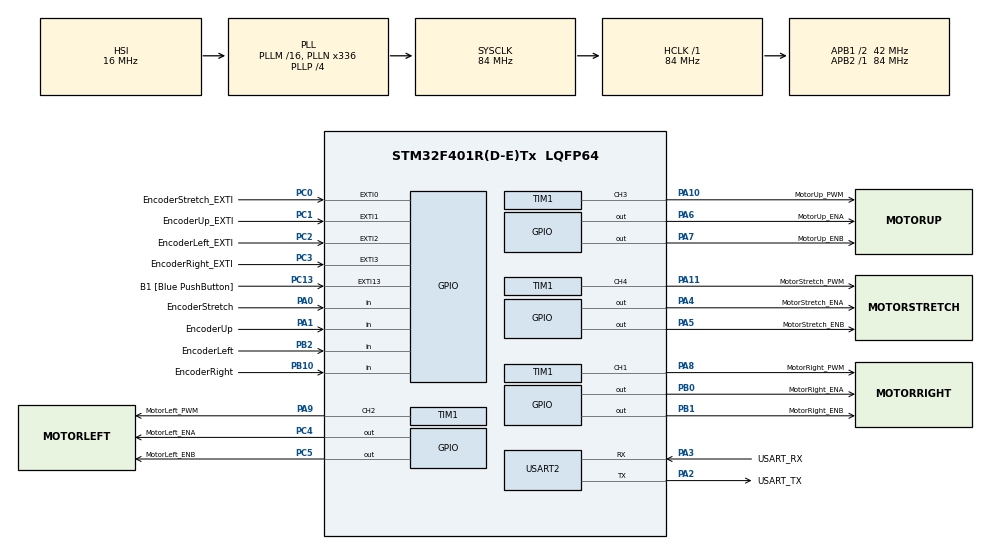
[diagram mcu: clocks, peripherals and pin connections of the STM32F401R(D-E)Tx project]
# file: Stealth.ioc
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FREERTOS.Tasks01=dataSender,-1,128,Task_dataSender,Default,NULL,Dynamic,NULL,NULL;sMotorCtrl,0,128,Task_SMotor,Default,NULL,Dynamic,NULL,NULL;tMotorCtrl,2,128,Task_TMotors,Default,NULL,Dynamic,NULL,NULL;dataReceiver,1,128,Task_dataReceiver,Default,NULL,Dynamic,NULL,NULL
FREERTOS.configUSE_NEWLIB_REENTRANT=1
Mcu.Family=STM32F4
Mcu.Name=STM32F401R(D-E)Tx
Mcu.Package=LQFP64
NVIC.EXTI0_IRQn=true\:5\:0\:false\:false\:true\:true\:true\:true\:true
NVIC.EXTI15_10_IRQn=true\:5\:0\:false\:false\:true\:true\:true\:true\:true
NVIC.EXTI1_IRQn=true\:5\:0\:false\:false\:true\:true\:true\:true\:true
NVIC.EXTI2_IRQn=true\:5\:0\:false\:false\:true\:true\:true\:true\:true
NVIC.EXTI3_IRQn=true\:5\:0\:false\:false\:true\:true\:true\:true\:true
NVIC.PriorityGroup=NVIC_PRIORITYGROUP_4
NVIC.TIM5_IRQn=true\:15\:0\:false\:false\:true\:false\:false\:true\:true
NVIC.TimeBase=TIM5_IRQn
NVIC.TimeBaseIP=TIM5
PA0-WKUP.GPIO_Label=EncoderStretch
PA0-WKUP.Signal=GPIO_Input
PA1.GPIO_Label=EncoderUp
PA1.Signal=GPIO_Input
PA10.GPIO_Label=MotorUp_PWM
PA10.Signal=S_TIM1_CH3
PA11.GPIO_Label=MotorStretch_PWM
PA11.Signal=S_TIM1_CH4
PA13.GPIO_Label=TMS
PA13.Mode=Serial_Wire
PA13.Signal=SYS_JTMS-SWDIO
PA14.GPIO_Label=TCK
PA14.Mode=Serial_Wire
PA14.Signal=SYS_JTCK-SWCLK
PA2.GPIO_Label=USART_TX
PA2.GPIO_Mode=GPIO_MODE_AF_PP
PA2.GPIO_PuPd=GPIO_NOPULL
PA2.GPIO_Speed=GPIO_SPEED_FREQ_LOW
PA2.Mode=Asynchronous
PA2.Signal=USART2_TX
PA3.GPIO_Label=USART_RX
PA3.GPIO_Mode=GPIO_MODE_AF_PP
PA3.GPIO_PuPd=GPIO_NOPULL
PA3.GPIO_Speed=GPIO_SPEED_FREQ_LOW
PA3.Mode=Asynchronous
PA3.Signal=USART2_RX
PA4.GPIO_Label=MotorStretch_ENA
PA4.Signal=GPIO_Output
PA5.GPIO_Label=MotorStretch_ENB
PA5.Signal=GPIO_Output
PA6.GPIO_Label=MotorUp_ENA
PA6.Signal=GPIO_Output
PA7.GPIO_Label=MotorUp_ENB
PA7.Signal=GPIO_Output
PA8.GPIO_Label=MotorRight_PWM
PA8.Signal=S_TIM1_CH1
PA9.GPIO_Label=MotorLeft_PWM
PA9.Signal=S_TIM1_CH2
PB0.GPIO_Label=MotorRight_ENA
PB0.Signal=GPIO_Output
PB1.GPIO_Label=MotorRight_ENB
PB1.Signal=GPIO_Output
PB10.GPIO_Label=EncoderRight
PB10.Signal=GPIO_Input
PB2.GPIO_Label=EncoderLeft
PB2.Signal=GPIO_Input
PB3.GPIO_Label=SWO
PB3.Signal=SYS_JTDO-SWO
PC0.GPIO_Label=EncoderStretch_EXTI
PC0.GPIO_ModeDefaultEXTI=GPIO_MODE_IT_RISING
PC0.Signal=GPXTI0
PC1.GPIO_Label=EncoderUp_EXTI
PC1.Signal=GPXTI1
PC13-ANTI_TAMP.GPIO_Label=B1 [Blue PushButton]
PC13-ANTI_TAMP.GPIO_ModeDefaultEXTI=GPIO_MODE_IT_FALLING
PC13-ANTI_TAMP.GPIO_PuPd=GPIO_NOPULL
PC13-ANTI_TAMP.Signal=GPXTI13
PC14-OSC32_IN.Mode=LSE-External-Oscillator
PC14-OSC32_IN.Signal=RCC_OSC32_IN
PC15-OSC32_OUT.Mode=LSE-External-Oscillator
PC15-OSC32_OUT.Signal=RCC_OSC32_OUT
PC2.GPIO_Label=EncoderLeft_EXTI
PC2.Signal=GPXTI2
PC3.GPIO_Label=EncoderRight_EXTI
PC3.Signal=GPXTI3
PC4.GPIO_Label=MotorLeft_ENA
PC4.Signal=GPIO_Output
PC5.GPIO_Label=MotorLeft_ENB
PC5.Signal=GPIO_Output
PH0\ -\ OSC_IN.Mode=HSE-External-Oscillator
PH0\ -\ OSC_IN.Signal=RCC_OSC_IN
PH1\ -\ OSC_OUT.Mode=HSE-External-Oscillator
PH1\ -\ OSC_OUT.Signal=RCC_OSC_OUT
ProjectManager.HeapSize=0x200
ProjectManager.StackSize=0x400
ProjectManager.TargetToolchain=STM32CubeIDE
RCC.48MHZClocksFreq_Value=48000000
RCC.AHBFreq_Value=84000000
RCC.APB1CLKDivider=RCC_HCLK_DIV2
RCC.APB1Freq_Value=42000000
RCC.APB1TimFreq_Value=84000000
RCC.APB2Freq_Value=84000000
RCC.APB2TimFreq_Value=84000000
RCC.CortexFreq_Value=84000000
RCC.HCLKFreq_Value=84000000
RCC.HSE_VALUE=8000000
RCC.HSI_VALUE=16000000
RCC.PLLN=336
RCC.PLLP=RCC_PLLP_DIV4
RCC.PLLQ=7
RCC.SYSCLKFreq_VALUE=84000000
RCC.SYSCLKSource=RCC_SYSCLKSOURCE_PLLCLK
RCC.VCOOutputFreq_Value=336000000
SH.S_TIM1_CH1.0=TIM1_CH1,PWM Generation1 CH1
SH.S_TIM1_CH2.0=TIM1_CH2,PWM Generation2 CH2
SH.S_TIM1_CH3.0=TIM1_CH3,PWM Generation3 CH3
SH.S_TIM1_CH4.0=TIM1_CH4,PWM Generation4 CH4
TIM1.Channel-PWM\ Generation1\ CH1=TIM_CHANNEL_1
TIM1.Channel-PWM\ Generation2\ CH2=TIM_CHANNEL_2
TIM1.Channel-PWM\ Generation3\ CH3=TIM_CHANNEL_3
TIM1.Channel-PWM\ Generation4\ CH4=TIM_CHANNEL_4
TIM1.Period=8399
USART2.VirtualMode=VM_ASYNC
VP_FREERTOS_VS_CMSIS_V1.Mode=CMSIS_V1
VP_SYS_VS_tim5.Mode=TIM5
board=NUCLEO-F401RE

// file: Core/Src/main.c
/* USER CODE BEGIN Header */
/**
  ******************************************************************************
  * @file           : main.c
  * @brief          : Main program body
  ******************************************************************************
  * @attention
  *
  * Copyright (c) 2023 STMicroelectronics.
  * All rights reserved.
  *
  * This software is licensed under terms that can be found in the LICENSE file
  * in the root directory of this software component.
  * If no LICENSE file comes with this software, it is provided AS-IS.
  *
  ******************************************************************************
  */
/* USER CODE END Header */
#include "main.h"
#include "cmsis_os.h"

/* USER CODE BEGIN Includes */
#include <stdio.h>
/* USER CODE END Includes */

TIM_HandleTypeDef htim1;

UART_HandleTypeDef huart2;

osThreadId dataSenderHandle;
osThreadId sMotorCtrlHandle;
osThreadId tMotorCtrlHandle;
osThreadId dataReceiverHandle;
/* USER CODE BEGIN PV */
// Private variables

// Encoder tick variables
long long int tickUp = 0;

// UART receiving

/* USER CODE END PV */

void SystemClock_Config(void);
static void MX_GPIO_Init(void);
static void MX_USART2_UART_Init(void);
static void MX_TIM1_Init(void);
void Task_dataSender(void const * argument);
void Task_SMotor(void const * argument);
void Task_TMotors(void const * argument);
void Task_dataReceiver(void const * argument);

/* USER CODE BEGIN PFP */
// Write your user-defined function declaration here

/* USER CODE END PFP */

/* USER CODE BEGIN 0 */
// Write your user-defined function here

/* USER CODE END 0 */

int main(void)
{

  /* MCU Configuration--------------------------------------------------------*/

  /* Reset of all peripherals, Initializes the Flash interface and the Systick. */
  HAL_Init();

  /* Configure the system clock */
  SystemClock_Config();

  /* Initialize all configured peripherals */
  MX_GPIO_Init();
  MX_USART2_UART_Init();
  MX_TIM1_Init();

  /* Create the thread(s) */
  /* definition and creation of dataSender */
  osThreadDef(dataSender, Task_dataSender, osPriorityBelowNormal, 0, 128);
  dataSenderHandle = osThreadCreate(osThread(dataSender), NULL);

  /* definition and creation of sMotorCtrl */
  osThreadDef(sMotorCtrl, Task_SMotor, osPriorityNormal, 0, 128);
  sMotorCtrlHandle = osThreadCreate(osThread(sMotorCtrl), NULL);

  /* definition and creation of tMotorCtrl */
  osThreadDef(tMotorCtrl, Task_TMotors, osPriorityHigh, 0, 128);
  tMotorCtrlHandle = osThreadCreate(osThread(tMotorCtrl), NULL);

  /* definition and creation of dataReceiver */
  osThreadDef(dataReceiver, Task_dataReceiver, osPriorityAboveNormal, 0, 128);
  dataReceiverHandle = osThreadCreate(osThread(dataReceiver), NULL);

  /* Start scheduler */
  osKernelStart();

  /* We should never get here as control is now taken by the scheduler */
  /* Infinite loop */
  while (1)
  {

  }
}

void SystemClock_Config(void)
{
  RCC_OscInitTypeDef RCC_OscInitStruct = {0};
  RCC_ClkInitTypeDef RCC_ClkInitStruct = {0};

  /** Configure the main internal regulator output voltage
  */
  __HAL_RCC_PWR_CLK_ENABLE();
  __HAL_PWR_VOLTAGESCALING_CONFIG(PWR_REGULATOR_VOLTAGE_SCALE2);

  /** Initializes the RCC Oscillators according to the specified parameters
  * in the RCC_OscInitTypeDef structure.
  */
  RCC_OscInitStruct.OscillatorType = RCC_OSCILLATORTYPE_HSI;
  RCC_OscInitStruct.HSIState = RCC_HSI_ON;
  RCC_OscInitStruct.HSICalibrationValue = RCC_HSICALIBRATION_DEFAULT;
  RCC_OscInitStruct.PLL.PLLState = RCC_PLL_ON;
  RCC_OscInitStruct.PLL.PLLSource = RCC_PLLSOURCE_HSI;
  RCC_OscInitStruct.PLL.PLLM = 16;
  RCC_OscInitStruct.PLL.PLLN = 336;
  RCC_OscInitStruct.PLL.PLLP = RCC_PLLP_DIV4;
  RCC_OscInitStruct.PLL.PLLQ = 7;
  if (HAL_RCC_OscConfig(&RCC_OscInitStruct) != HAL_OK)
  {
    Error_Handler();
  }

  /** Initializes the CPU, AHB and APB buses clocks
  */
  RCC_ClkInitStruct.ClockType = RCC_CLOCKTYPE_HCLK|RCC_CLOCKTYPE_SYSCLK
                              |RCC_CLOCKTYPE_PCLK1|RCC_CLOCKTYPE_PCLK2;
  RCC_ClkInitStruct.SYSCLKSource = RCC_SYSCLKSOURCE_PLLCLK;
  RCC_ClkInitStruct.AHBCLKDivider = RCC_SYSCLK_DIV1;
  RCC_ClkInitStruct.APB1CLKDivider = RCC_HCLK_DIV2;
  RCC_ClkInitStruct.APB2CLKDivider = RCC_HCLK_DIV1;

  if (HAL_RCC_ClockConfig(&RCC_ClkInitStruct, FLASH_LATENCY_2) != HAL_OK)
  {
    Error_Handler();
  }
}

static void MX_TIM1_Init(void)
{

  /* USER CODE BEGIN TIM1_Init 0 */
	HAL_TIM_Base_Start(&htim1);
	HAL_TIM_PWM_Start(&htim1, TIM_CHANNEL_3); // upper Motor
  /* USER CODE END TIM1_Init 0 */

  TIM_MasterConfigTypeDef sMasterConfig = {0};
  TIM_OC_InitTypeDef sConfigOC = {0};
  TIM_BreakDeadTimeConfigTypeDef sBreakDeadTimeConfig = {0};

  htim1.Instance = TIM1;
  htim1.Init.Prescaler = 0;
  htim1.Init.CounterMode = TIM_COUNTERMODE_UP;
  htim1.Init.Period = 8399;
  htim1.Init.ClockDivision = TIM_CLOCKDIVISION_DIV1;
  htim1.Init.RepetitionCounter = 0;
  htim1.Init.AutoReloadPreload = TIM_AUTORELOAD_PRELOAD_DISABLE;
  if (HAL_TIM_PWM_Init(&htim1) != HAL_OK)
  {
    Error_Handler();
  }
  sMasterConfig.MasterOutputTrigger = TIM_TRGO_RESET;
  sMasterConfig.MasterSlaveMode = TIM_MASTERSLAVEMODE_DISABLE;
  if (HAL_TIMEx_MasterConfigSynchronization(&htim1, &sMasterConfig) != HAL_OK)
  {
    Error_Handler();
  }
  sConfigOC.OCMode = TIM_OCMODE_PWM1;
  sConfigOC.Pulse = 0;
  sConfigOC.OCPolarity = TIM_OCPOLARITY_HIGH;
  sConfigOC.OCNPolarity = TIM_OCNPOLARITY_HIGH;
  sConfigOC.OCFastMode = TIM_OCFAST_DISABLE;
  sConfigOC.OCIdleState = TIM_OCIDLESTATE_RESET;
  sConfigOC.OCNIdleState = TIM_OCNIDLESTATE_RESET;
  if (HAL_TIM_PWM_ConfigChannel(&htim1, &sConfigOC, TIM_CHANNEL_1) != HAL_OK)
  {
    Error_Handler();
  }
  if (HAL_TIM_PWM_ConfigChannel(&htim1, &sConfigOC, TIM_CHANNEL_2) != HAL_OK)
  {
    Error_Handler();
  }
  if (HAL_TIM_PWM_ConfigChannel(&htim1, &sConfigOC, TIM_CHANNEL_3) != HAL_OK)
  {
    Error_Handler();
  }
  if (HAL_TIM_PWM_ConfigChannel(&htim1, &sConfigOC, TIM_CHANNEL_4) != HAL_OK)
  {
    Error_Handler();
  }
  sBreakDeadTimeConfig.OffStateRunMode = TIM_OSSR_DISABLE;
  sBreakDeadTimeConfig.OffStateIDLEMode = TIM_OSSI_DISABLE;
  sBreakDeadTimeConfig.LockLevel = TIM_LOCKLEVEL_OFF;
  sBreakDeadTimeConfig.DeadTime = 0;
  sBreakDeadTimeConfig.BreakState = TIM_BREAK_DISABLE;
  sBreakDeadTimeConfig.BreakPolarity = TIM_BREAKPOLARITY_HIGH;
  sBreakDeadTimeConfig.AutomaticOutput = TIM_AUTOMATICOUTPUT_DISABLE;
  if (HAL_TIMEx_ConfigBreakDeadTime(&htim1, &sBreakDeadTimeConfig) != HAL_OK)
  {
    Error_Handler();
  }
  HAL_TIM_MspPostInit(&htim1);

}

static void MX_USART2_UART_Init(void)
{

  huart2.Instance = USART2;
  huart2.Init.BaudRate = 115200;
  huart2.Init.WordLength = UART_WORDLENGTH_8B;
  huart2.Init.StopBits = UART_STOPBITS_1;
  huart2.Init.Parity = UART_PARITY_NONE;
  huart2.Init.Mode = UART_MODE_TX_RX;
  huart2.Init.HwFlowCtl = UART_HWCONTROL_NONE;
  huart2.Init.OverSampling = UART_OVERSAMPLING_16;
  if (HAL_UART_Init(&huart2) != HAL_OK)
  {
    Error_Handler();
  }

}

static void MX_GPIO_Init(void)
{
  GPIO_InitTypeDef GPIO_InitStruct = {0};

  /* GPIO Ports Clock Enable */
  __HAL_RCC_GPIOC_CLK_ENABLE();
  __HAL_RCC_GPIOH_CLK_ENABLE();
  __HAL_RCC_GPIOA_CLK_ENABLE();
  __HAL_RCC_GPIOB_CLK_ENABLE();

  /*Configure GPIO pin Output Level */
  HAL_GPIO_WritePin(GPIOA, MotorStretch_ENA_Pin|MotorStretch_ENB_Pin|MotorUp_ENA_Pin|MotorUp_ENB_Pin, GPIO_PIN_RESET);

  /*Configure GPIO pin Output Level */
  HAL_GPIO_WritePin(GPIOC, MotorLeft_ENA_Pin|MotorLeft_ENB_Pin, GPIO_PIN_RESET);

  /*Configure GPIO pin Output Level */
  HAL_GPIO_WritePin(GPIOB, MotorRight_ENA_Pin|MotorRight_ENB_Pin, GPIO_PIN_RESET);

  /*Configure GPIO pin : B1_Pin */
  GPIO_InitStruct.Pin = B1_Pin;
  GPIO_InitStruct.Mode = GPIO_MODE_IT_FALLING;
  GPIO_InitStruct.Pull = GPIO_NOPULL;
  HAL_GPIO_Init(B1_GPIO_Port, &GPIO_InitStruct);

  /*Configure GPIO pins : EncoderStretch_EXTI_Pin EncoderUp_EXTI_Pin EncoderLeft_EXTI_Pin EncoderRight_EXTI_Pin */
  GPIO_InitStruct.Pin = EncoderStretch_EXTI_Pin|EncoderUp_EXTI_Pin|EncoderLeft_EXTI_Pin|EncoderRight_EXTI_Pin;
  GPIO_InitStruct.Mode = GPIO_MODE_IT_RISING;
  GPIO_InitStruct.Pull = GPIO_NOPULL;
  HAL_GPIO_Init(GPIOC, &GPIO_InitStruct);

  /*Configure GPIO pins : EncoderStretch_Pin EncoderUp_Pin */
  GPIO_InitStruct.Pin = EncoderStretch_Pin|EncoderUp_Pin;
  GPIO_InitStruct.Mode = GPIO_MODE_INPUT;
  GPIO_InitStruct.Pull = GPIO_NOPULL;
  HAL_GPIO_Init(GPIOA, &GPIO_InitStruct);

  /*Configure GPIO pins : MotorStretch_ENA_Pin MotorStretch_ENB_Pin MotorUp_ENA_Pin MotorUp_ENB_Pin */
  GPIO_InitStruct.Pin = MotorStretch_ENA_Pin|MotorStretch_ENB_Pin|MotorUp_ENA_Pin|MotorUp_ENB_Pin;
  GPIO_InitStruct.Mode = GPIO_MODE_OUTPUT_PP;
  GPIO_InitStruct.Pull = GPIO_NOPULL;
  GPIO_InitStruct.Speed = GPIO_SPEED_FREQ_LOW;
  HAL_GPIO_Init(GPIOA, &GPIO_InitStruct);

  /*Configure GPIO pins : MotorLeft_ENA_Pin MotorLeft_ENB_Pin */
  GPIO_InitStruct.Pin = MotorLeft_ENA_Pin|MotorLeft_ENB_Pin;
  GPIO_InitStruct.Mode = GPIO_MODE_OUTPUT_PP;
  GPIO_InitStruct.Pull = GPIO_NOPULL;
  GPIO_InitStruct.Speed = GPIO_SPEED_FREQ_LOW;
  HAL_GPIO_Init(GPIOC, &GPIO_InitStruct);

  /*Configure GPIO pins : MotorRight_ENA_Pin MotorRight_ENB_Pin */
  GPIO_InitStruct.Pin = MotorRight_ENA_Pin|MotorRight_ENB_Pin;
  GPIO_InitStruct.Mode = GPIO_MODE_OUTPUT_PP;
  GPIO_InitStruct.Pull = GPIO_NOPULL;
  GPIO_InitStruct.Speed = GPIO_SPEED_FREQ_LOW;
  HAL_GPIO_Init(GPIOB, &GPIO_InitStruct);

  /*Configure GPIO pins : EncoderLeft_Pin EncoderRight_Pin */
  GPIO_InitStruct.Pin = EncoderLeft_Pin|EncoderRight_Pin;
  GPIO_InitStruct.Mode = GPIO_MODE_INPUT;
  GPIO_InitStruct.Pull = GPIO_NOPULL;
  HAL_GPIO_Init(GPIOB, &GPIO_InitStruct);

  /* EXTI interrupt init*/
  HAL_NVIC_SetPriority(EXTI0_IRQn, 5, 0);
  HAL_NVIC_EnableIRQ(EXTI0_IRQn);

  HAL_NVIC_SetPriority(EXTI1_IRQn, 5, 0);
  HAL_NVIC_EnableIRQ(EXTI1_IRQn);

  HAL_NVIC_SetPriority(EXTI2_IRQn, 5, 0);
  HAL_NVIC_EnableIRQ(EXTI2_IRQn);

  HAL_NVIC_SetPriority(EXTI3_IRQn, 5, 0);
  HAL_NVIC_EnableIRQ(EXTI3_IRQn);

  HAL_NVIC_SetPriority(EXTI15_10_IRQn, 5, 0);
  HAL_NVIC_EnableIRQ(EXTI15_10_IRQn);

}

/* USER CODE BEGIN 4 */
// External Interrupt Function for Encoders
void HAL_GPIO_EXTI_Callback(uint16_t GPIO_Pin)
{
	// Encoder of upper motor interrupt
	if(GPIO_Pin == EncoderUp_EXTI_Pin) {
		// Check the state of another encoder pin of upper motor
		// add or minus the tick variable
		if(HAL_GPIO_ReadPin(EncoderUp_GPIO_Port, EncoderUp_EXTI_Pin)) {
			tickUp++;
		} else {
			tickUp--;
		}
	} else if(GPIO_Pin == EncoderLeft_EXTI_Pin) {

	} else if(GPIO_Pin == EncoderRight_EXTI_Pin) {

	}
}
/* USER CODE END 4 */

void Task_dataSender(void const * argument)
{
  /* USER CODE BEGIN 5 */
	// The data being sent outside to computer
	uint8_t txBuffer[50];
  /* Infinite loop */
  for(;;)
  {
	  // Format the string with ticks variable
	  snprintf((char*) &txBuffer, sizeof(txBuffer), "Ticks: %I64lld\r\n", (long long int)tickUp);

	  // sending out data
	  HAL_UART_Transmit(&huart2, (uint8_t *)txBuffer, strlen(txBuffer), HAL_MAX_DELAY);
    osDelay(1);
  }
  /* USER CODE END 5 */
}

void Task_SMotor(void const * argument)
{
  for(;;)
  {
    osDelay(1);
  }
}

void Task_TMotors(void const * argument)
{
  for(;;)
  {
    osDelay(1);
  }
}

void Task_dataReceiver(void const * argument)
{
  /* USER CODE BEGIN Task_dataReceiver */
	// UART receiving
	uint8_t receivedData[20]; // the received data from UART
  /* Infinite loop */
  for(;;)
  {
	  // Receive the data
	  HAL_UART_Receive(&huart2, (uint8_t *)receivedData, sizeof(receivedData), portMAX_DELAY);
	  // Null-terminate the received data to treat it as a string
	  receivedData[sizeof(receivedData) - 1] = '\0';

    osDelay(100);
  }
  /* USER CODE END Task_dataReceiver */
}

void HAL_TIM_PeriodElapsedCallback(TIM_HandleTypeDef *htim)
{
  if (htim->Instance == TIM5) {
    HAL_IncTick();
  }
}

void Error_Handler(void)
{
  __disable_irq();
  while (1)
  {
  }
}
